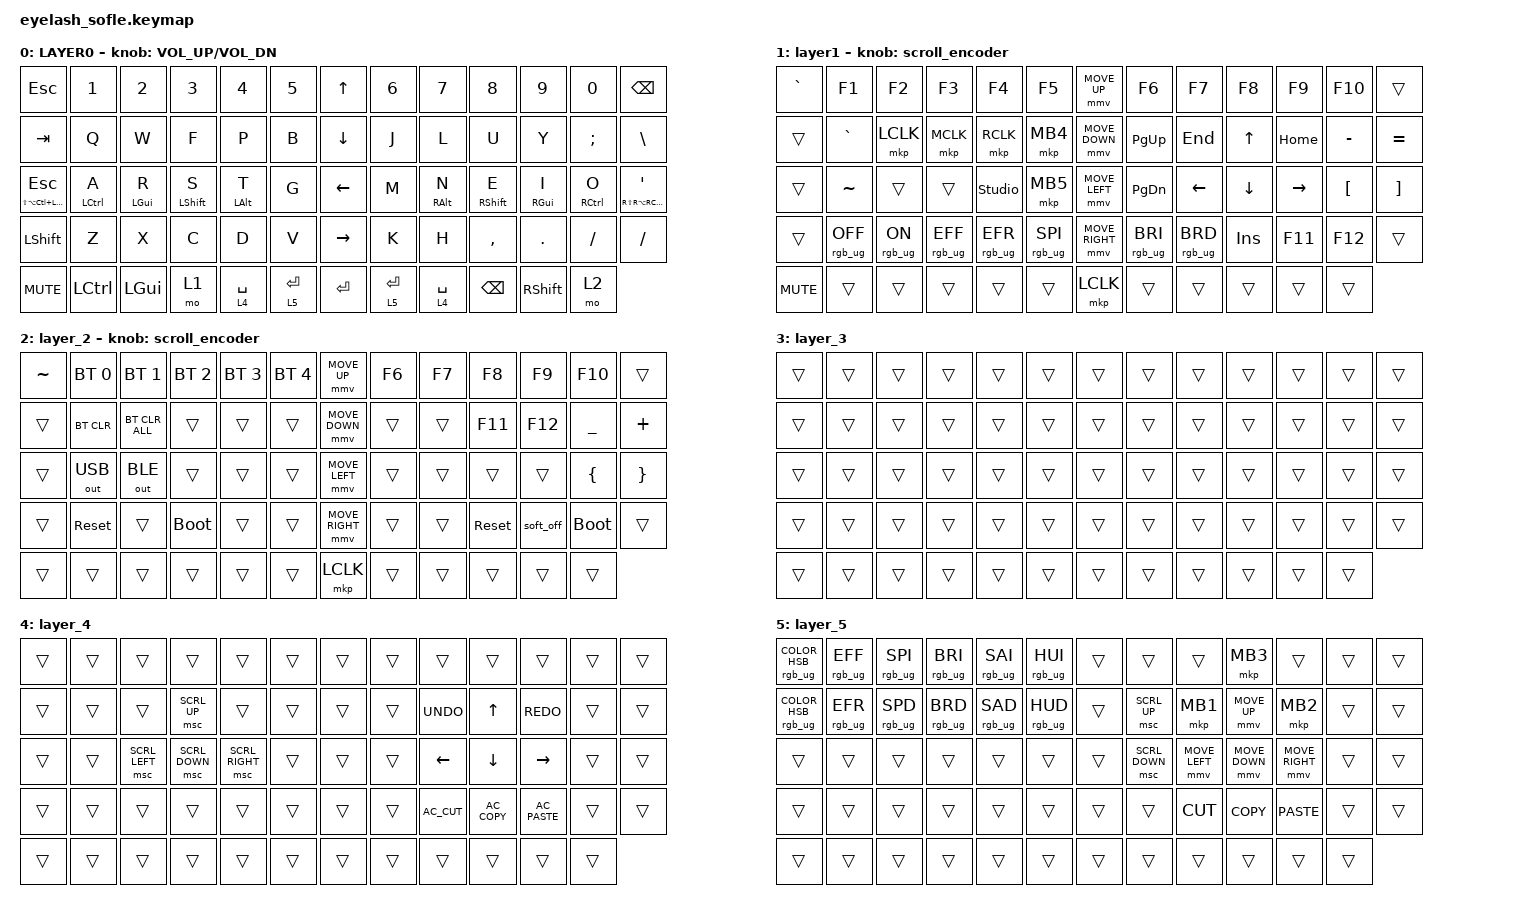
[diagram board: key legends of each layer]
#include <dt-bindings/zmk/mouse.h>
#include <input/processors.dtsi>
#include <behaviors.dtsi>
#include <dt-bindings/zmk/bt.h>
#include <dt-bindings/zmk/keys.h>
#include <dt-bindings/zmk/outputs.h>
#include <dt-bindings/zmk/pointing.h>
#include <dt-bindings/zmk/pointing.h>
#include <dt-bindings/zmk/pointing.h>
#include <dt-bindings/zmk/rgb.h>

/*

   &mmv_input_listener {
       input-processors = <&zip_xy_scaler 2 1>;
   };

   &msc_input_listener {
       input-processors = <&zip_xy_scaler 2 1>;
   };

 */

#define ZMK_MOUSE_DEFAULT_MOVE_VAL 1200  // 600
#define ZMK_MOUSE_DEFAULT_SCRL_VAL 20    // 10

/ {
    behaviors {
        mmv {
            acceleration-exponent = <1>;      // 1
            time-to-max-speed-ms = <900>;    // 40
            delay-ms = <0>;                   // 0
        };

        msc {
            acceleration-exponent = <1>;      // 0
            time-to-max-speed-ms = <400>;      // 500
            delay-ms = <0>;                   //   10
        };
    };

    scroll_encoder: scroll_encoder {
        compatible = "zmk,behavior-sensor-rotate";
        #sensor-binding-cells = <0>;
        bindings = <&msc SCRL_DOWN>, <&msc SCRL_UP>;

        tap-ms = <30>;
    };

    hmr: hmr {
        compatible = "zmk,behavior-hold-tap";
        label = "HMR";
        bindings = <&kp>, <&kp>;

        #binding-cells = <2>;
        tapping-term-ms = <280>;
        flavor = "balanced";
        hold-trigger-key-positions = <0 1 2 3 4 5 13 14 15 16 17 18 26 27 28 29 30 31 39 40 41 42 43 44 53 54 55 56 57 52 59 60 61 62 63>;
        hold-trigger-on-release;
    };

    hml: hml {
        compatible = "zmk,behavior-hold-tap";
        label = "HML";
        bindings = <&kp>, <&kp>;

        #binding-cells = <2>;
        tapping-term-ms = <280>;
        flavor = "balanced";
        hold-trigger-on-release;
        hold-trigger-key-positions = <7 8 10 11 12 20 21 22 23 24 25 33 34 35 36 37 38 46 47 48 49 50 51 60 61 62 63 59 57 56 55 53 54>;
    };

    combos {
        compatible = "zmk,combos";

        dash_pointers {
            bindings = <&kp MINUS>;
            key-positions = <30 34>;
            layers = <0>;
        };

        l_bracket {
            bindings = <&kp LEFT_BRACKET>;
            key-positions = <30 29>;
            layers = <0>;
        };

        r_bracket {
            bindings = <&kp RIGHT_BRACKET>;
            key-positions = <34 35>;
            layers = <0>;
        };

        single_quote {
            bindings = <&kp SQT>;
            key-positions = <35 36>;
            layers = <0>;
        };

        hyper_p {
            bindings = <&kp LS(LA(LC(LG(P))))>;
            key-positions = <30 29 28 34 35 36>;
        };

        equal {
            bindings = <&kp EQUAL>;
            key-positions = <29 35>;
            layers = <0>;
        };
    };

    keymap {
        compatible = "zmk,keymap";

        layer0 {
            bindings = <
&kp ESC                           &kp N1               &kp N2           &kp N3             &kp N4           &kp N5         &kp UP_ARROW     &kp N6       &kp N7            &kp N8              &kp N9            &kp N0                &kp BACKSPACE
&kp TAB                           &kp Q                &kp W            &kp F              &kp P            &kp B          &kp DOWN_ARROW   &kp J        &kp L             &kp U               &kp Y             &kp SEMICOLON         &kp BSLH
&hml LS(LA(LC(LEFT_GUI))) ESCAPE  &hml LEFT_CONTROL A  &hml LEFT_GUI R  &hml LEFT_SHIFT S  &hml LEFT_ALT T  &kp G          &kp LEFT_ARROW   &kp M        &hmr RIGHT_ALT N  &hmr RIGHT_SHIFT E  &hmr RIGHT_GUI I  &hmr RIGHT_CONTROL O  &hmr RS(RA(RC(RIGHT_GUI))) APOS
&kp LSHFT                         &kp Z                &kp X            &kp C              &kp D            &kp V          &kp RIGHT_ARROW  &kp K        &kp H             &kp COMMA           &kp DOT           &kp FSLH              &kp SLASH
&kp C_MUTE                        &kp LCTRL            &kp LEFT_GUI     &mo 1              &lt 4 SPACE      &lt 5 ENTER    &kp ENTER        &lt 5 ENTER  &lt 4 SPACE       &kp BACKSPACE       &kp RIGHT_SHIFT   &mo 2
            >;

            sensor-bindings = <&inc_dec_kp C_VOLUME_UP C_VOL_DN>;
            display-name = "LAYER0";
        };

        layer_1 {
            bindings = <
&kp GRAVE   &kp F1           &kp F2          &kp F3           &kp F4           &kp F5             &mmv MOVE_UP     &kp F6           &kp F7           &kp F8      &kp F9     &kp F10           &trans
&trans      &kp GRAVE        &mkp LCLK       &mkp MCLK        &mkp RCLK        &mkp MB4           &mmv MOVE_DOWN   &kp PG_UP        &kp END          &kp UP      &kp HOME   &kp MINUS         &kp EQUAL
&trans      &kp TILDE        &trans          &trans           &studio_unlock   &mkp MB5           &mmv MOVE_LEFT   &kp PG_DN        &kp LEFT         &kp DOWN    &kp RIGHT  &kp LEFT_BRACKET  &kp RIGHT_BRACKET
&trans      &rgb_ug RGB_OFF  &rgb_ug RGB_ON  &rgb_ug RGB_EFF  &rgb_ug RGB_EFR  &rgb_ug RGB_SPI    &mmv MOVE_RIGHT  &rgb_ug RGB_BRI  &rgb_ug RGB_BRD  &kp INSERT  &kp F11    &kp F12           &trans
&kp C_MUTE  &trans           &trans          &trans           &trans           &trans             &mkp LCLK        &trans           &trans           &trans      &trans     &trans
            >;

            display-name = "layer1";
            sensor-bindings = <&scroll_encoder>;
        };

        layer_2 {
            bindings = <
&kp TILDE  &bt BT_SEL 0  &bt BT_SEL 1    &bt BT_SEL 2  &bt BT_SEL 3  &bt BT_SEL 4    &mmv MOVE_UP     &kp F6  &kp F7  &kp F8      &kp F9     &kp F10      &trans
&trans     &bt BT_CLR    &bt BT_CLR_ALL  &trans        &trans        &trans          &mmv MOVE_DOWN   &trans  &trans  &kp F11     &kp F12    &kp UNDER    &kp PLUS
&trans     &out OUT_USB  &out OUT_BLE    &trans        &trans        &trans          &mmv MOVE_LEFT   &trans  &trans  &trans      &trans     &kp LBRC     &kp RBRC
&trans     &sys_reset    &trans          &bootloader   &trans        &trans          &mmv MOVE_RIGHT  &trans  &trans  &sys_reset  &soft_off  &bootloader  &trans
&trans     &trans        &trans          &trans        &trans        &trans          &mkp LCLK        &trans  &trans  &trans      &trans     &trans
            >;

            sensor-bindings = <&scroll_encoder>;
        };

        layer_3 {
            bindings = <
&trans  &trans  &trans  &trans  &trans  &trans    &trans  &trans  &trans  &trans  &trans  &trans  &trans
&trans  &trans  &trans  &trans  &trans  &trans    &trans  &trans  &trans  &trans  &trans  &trans  &trans
&trans  &trans  &trans  &trans  &trans  &trans    &trans  &trans  &trans  &trans  &trans  &trans  &trans
&trans  &trans  &trans  &trans  &trans  &trans    &trans  &trans  &trans  &trans  &trans  &trans  &trans
&trans  &trans  &trans  &trans  &trans  &trans    &trans  &trans  &trans  &trans  &trans  &trans
            >;
        };

        layer_4 {
            bindings = <
&trans  &trans  &trans          &trans          &trans           &trans    &trans  &trans  &trans          &trans          &trans           &trans  &trans
&trans  &trans  &trans          &msc SCRL_UP    &trans           &trans    &trans  &trans  &kp K_UNDO      &kp UP_ARROW    &kp K_REDO       &trans  &trans
&trans  &trans  &msc SCRL_LEFT  &msc SCRL_DOWN  &msc SCRL_RIGHT  &trans    &trans  &trans  &kp LEFT_ARROW  &kp DOWN_ARROW  &kp RIGHT_ARROW  &trans  &trans
&trans  &trans  &trans          &trans          &trans           &trans    &trans  &trans  &kp C_AC_CUT    &kp C_AC_COPY   &kp C_AC_PASTE   &trans  &trans
&trans  &trans  &trans          &trans          &trans           &trans    &trans  &trans  &trans          &trans          &trans           &trans
            >;
        };

        layer_5 {
            bindings = <
&rgb_ug RGB_COLOR_HSB(263,100,50)  &rgb_ug RGB_EFF  &rgb_ug RGB_SPI  &rgb_ug RGB_BRI  &rgb_ug RGB_SAI  &rgb_ug RGB_HUI    &trans  &trans          &trans          &mkp MB3        &trans           &trans  &trans
&rgb_ug RGB_COLOR_HSB(0,100,32)    &rgb_ug RGB_EFR  &rgb_ug RGB_SPD  &rgb_ug RGB_BRD  &rgb_ug RGB_SAD  &rgb_ug RGB_HUD    &trans  &msc SCRL_UP    &mkp MB1        &mmv MOVE_UP    &mkp MB2         &trans  &trans
&trans                             &trans           &trans           &trans           &trans           &trans             &trans  &msc SCRL_DOWN  &mmv MOVE_LEFT  &mmv MOVE_DOWN  &mmv MOVE_RIGHT  &trans  &trans
&trans                             &trans           &trans           &trans           &trans           &trans             &trans  &trans          &kp K_CUT       &kp K_COPY      &kp K_PASTE      &trans  &trans
&trans                             &trans           &trans           &trans           &trans           &trans             &trans  &trans          &trans          &trans          &trans           &trans
            >;
        };
    };
};
